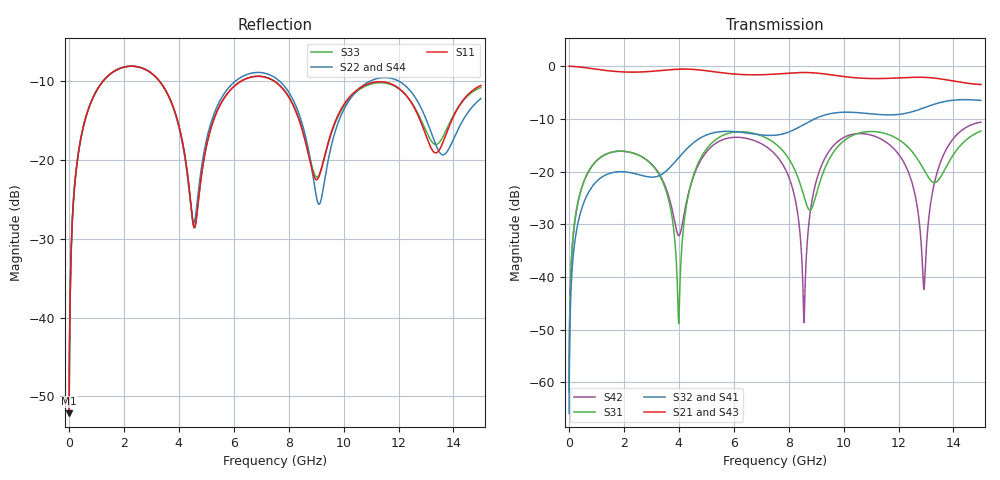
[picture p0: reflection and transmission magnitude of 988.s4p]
! Created with skrf 1.8.0 (http://scikit-rf.org).
# GHz S RI R 50.0
!freq ReS11 ImS11 ReS12 ImS12 ReS13 ImS13
! ReS14 ImS14
! ReS21 ImS21 ReS22 ImS22 ReS23 ImS23
! ReS24 ImS24
! ReS31 ImS31 ReS32 ImS32 ReS33 ImS33
! ReS34 ImS34
! ReS41 ImS41 ReS42 ImS42 ReS43 ImS43
! ReS44 ImS44
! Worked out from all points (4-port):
!   2499 points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, 5 MHz to 15 GHz, reference 50 ohm
!   strongest paths, dB at 5 MHz, 3.476 GHz, 7.19 GHz, 11.1 GHz, 15 GHz:
!     S21: 0.0, -0.8, -1.6, -2.4, -3.5
!     S43: 0.0, -0.8, -1.6, -2.4, -3.5
!     S32: -65.9, -20.2, -13.1, -9.1, -6.5
!     S41: -65.9, -20.2, -13.2, -9.2, -6.6
!     S31: -61.9, -22.8, -13.6, -12.4, -12.3
!     S42: -61.9, -22.4, -15.3, -13.2, -10.7
!   lowest |S11| = -52.1 dB at 5 MHz (marker M1), VSWR 1.00, Z = 50.2 + j0.15 ohm
!   |S11| at or under -10 dB: start of sweep to 1.243 GHz; 3.293 GHz to 6.277 GHz (2.984 GHz wide, 62.4 % of centre); 7.465 GHz to end of sweep
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0.005  0.00197 0.00149  0.998 -0.00383  0.000101 0.0008  -9.76e-05 -0.000499
       0.998 -0.00383  0.00197 0.00149  -9.76e-05 -0.000499  0.000101 0.0008
       0.000101 0.0008  -9.76e-05 -0.000499  0.00197 0.00149  0.998 -0.00383
       -9.76e-05 -0.000499  0.000101 0.0008  0.998 -0.00383  0.00197 0.00149
1.269279  0.2653 0.1792  0.56 -0.7218  0.1276 0.0636  -0.0903 -0.00828
          0.56 -0.7218  0.2654 0.1792  -0.0905 -0.00812  0.1272 0.064
          0.1276 0.0636  -0.0905 -0.00812  0.2652 0.1793  0.56 -0.7219
          -0.0903 -0.00828  0.1272 0.064  0.56 -0.7219  0.2654 0.1791
3.990909  0.0905 -0.1413  -0.8295 -0.4287  -0.00333 -0.00146  -0.0592 0.1214
          -0.8295 -0.4287  0.0907 -0.1378  -0.0572 0.1224  -0.0223 -0.0104
          -0.00333 -0.00146  -0.0572 0.1224  0.0903 -0.1408  -0.8297 -0.4285
          -0.0592 0.1214  -0.0223 -0.0104  -0.8297 -0.4285  0.0903 -0.1375
4.595665  0.038 0.00351  -0.9266 -0.0288  0.0252 0.0989  -0.00135 0.1928
          -0.9266 -0.0288  0.0413 0.0102  0.00152 0.1928  -0.0087 0.0985
          0.0252 0.0989  0.00152 0.1928  0.0377 0.00411  -0.9266 -0.0284
          -0.00135 0.1928  -0.0087 0.0985  -0.9266 -0.0284  0.0415 0.0114
8.559817  0.1062 -0.0919  0.7326 0.4677  -0.0397 -0.0422  0.1467 -0.2379
          0.7326 0.4677  0.0934 -0.1224  0.1379 -0.2434  0.00351 0.0011
          -0.0397 -0.0422  0.1379 -0.2434  0.1105 -0.0926  0.7315 0.4685
          0.1467 -0.2379  0.00351 0.0011  0.7315 0.4685  0.0935 -0.1263
11.82368  0.2921 -0.0605  -0.00264 -0.7683  0.141 -0.1606  -0.3357 0.0587
          -0.00264 -0.7683  0.3198 -0.0634  -0.3364 0.0766  0.1432 -0.0824
          0.141 -0.1606  -0.3364 0.0766  0.2911 -0.0502  -0.00188 -0.7677
          -0.3357 0.0587  0.1432 -0.0824  -0.00188 -0.7677  0.3241 -0.072
15  0.2916 0.0509  -0.5647 0.3581  0.225 0.0889  0.3203 0.3434
    -0.5647 0.3581  0.2387 0.0546  0.3396 0.3288  0.2728 0.1081
    0.225 0.0889  0.3396 0.3288  0.2847 0.0415  -0.5673 0.3567
    0.3203 0.3434  0.2728 0.1081  -0.5673 0.3567  0.2401 0.0565
